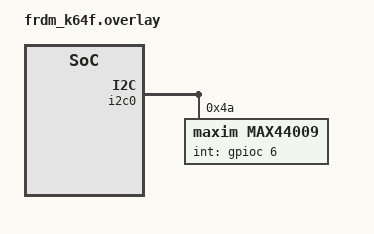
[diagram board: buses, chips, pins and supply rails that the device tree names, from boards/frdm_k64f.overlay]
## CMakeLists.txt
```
# SPDX-License-Identifier: Apache-2.0

cmake_minimum_required(VERSION 3.13.1)
find_package(Zephyr REQUIRED HINTS $ENV{ZEPHYR_BASE})
project(max44009)

FILE(GLOB app_sources src/*.c)
target_sources(app PRIVATE ${app_sources})
```

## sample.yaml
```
sample:
  name: MAX44009 light sensor
tests:
  sample.sensor.max44009:
    tags: sensors
    harness: console
    depends_on: i2c
    harness_config:
        type: multi_line
        ordered: true
        regex:
            - "MAX44009 light sensor application"
            - "sensor: lum reading: (.*)"
        fixture: fixture_i2c_max44009
    filter: dt_compat_enabled("maxim,max44009")
```

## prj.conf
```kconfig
CONFIG_PRINTK=y
CONFIG_I2C=y
CONFIG_SENSOR=y
CONFIG_MAX44009=y
```

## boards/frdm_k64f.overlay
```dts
/*
 * Copyright (c) 2019, Linaro Ltd.
 *
 * SPDX-License-Identifier: Apache-2.0
 */

&i2c0 {
	max44009@4a {
		compatible = "maxim,max44009";
		reg = <0x4a>;
		int-gpios = <&gpioc 6 0>;
		label = "MAX44009";
	};
};
```

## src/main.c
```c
/*
 * Copyright (c) 2016 Intel Corporation
 *
 * SPDX-License-Identifier: Apache-2.0
 */

#include <zephyr.h>
#include <sys/printk.h>
#include <drivers/sensor.h>

/**
 * @file Sample app using the MAX44009 light sensor through ARC I2C.
 *
 * This app will read the sensor reading via I2C interface and show
 * the result every 4 seconds.
 */

void main(void)
{
	const struct device *dev;
	struct sensor_value val;
	uint32_t lum = 0U;

	printk("MAX44009 light sensor application\n");

	dev = device_get_binding("MAX44009");
	if (!dev) {
		printk("sensor: device not found.\n");
		return;
	}

	while (1) {
		if (sensor_sample_fetch_chan(dev, SENSOR_CHAN_LIGHT) != 0) {
			printk("sensor: sample fetch fail.\n");
			return;
		}

		if (sensor_channel_get(dev, SENSOR_CHAN_LIGHT, &val) != 0) {
			printk("sensor: channel get fail.\n");
			return;
		}

		lum = val.val1;
		printk("sensor: lum reading: %d\n", lum);

		k_sleep(K_MSEC(4000));
	}
}
```
